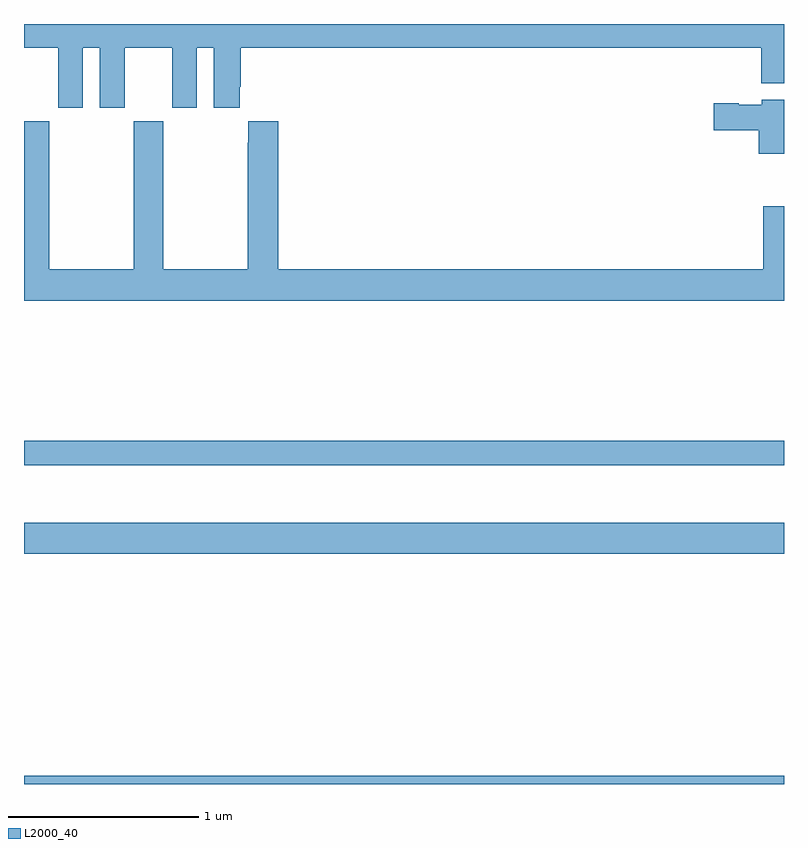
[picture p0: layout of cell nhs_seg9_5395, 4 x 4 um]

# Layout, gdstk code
import gdstk
lib = gdstk.Library(unit=1e-6, precision=1e-09)
def R(c, l, rs):  # rectangles x0, y0, x1, y1
    for r in rs: c.add(gdstk.rectangle(r[:2], r[2:], *l))
def P(c, l, *ps):  # polygons
    for p in ps: c.add(gdstk.Polygon(p, *l))
L2000_40 = (2000, 40)

nhs_seg9_5395 = lib.new_cell('nhs_seg9_5395')
R(nhs_seg9_5395, L2000_40, [(423,1236.5,427,1236.544), (423,1237.712,427,1237.876), (423,1238.178,427,1238.306)])
P(nhs_seg9_5395, L2000_40, [(426.881,1240.187),(427,1240.187),(427,1240.5),(423,1240.5),(423,1240.376),(423.179,1240.376),(423.179,1240.059),(423.31,1240.059),(423.31,1240.376),(423.398,1240.376),(423.398,1240.059),(423.529,1240.059),(423.529,1240.376),(423.779,1240.376),(423.779,1240.059),(423.91,1240.059),(423.91,1240.376),(423.998,1240.376),(423.998,1240.059),(424.135,1240.059),(424.135,1240.171),(424.142,1240.171),(424.142,1240.376),(426.881,1240.376)],
  [(427,1240.102),(426.882,1240.102),(426.882,1240.075),(426.762,1240.075),(426.762,1240.083),(426.63,1240.083),(426.63,1239.941),(426.866,1239.941),(426.866,1239.816),(427,1239.816)],
  [(427,1239.541),(426.892,1239.541),(426.892,1239.208),(424.337,1239.208),(424.337,1239.988),(424.181,1239.988),(424.181,1239.875),(424.177,1239.875),(424.177,1239.208),(423.732,1239.208),(423.732,1239.988),(423.577,1239.988),(423.577,1239.208),(423.132,1239.208),(423.132,1239.988),(423,1239.988),(423,1239.044),(427,1239.044)])

lib.write_gds('nhs_seg9_5395.gds')
